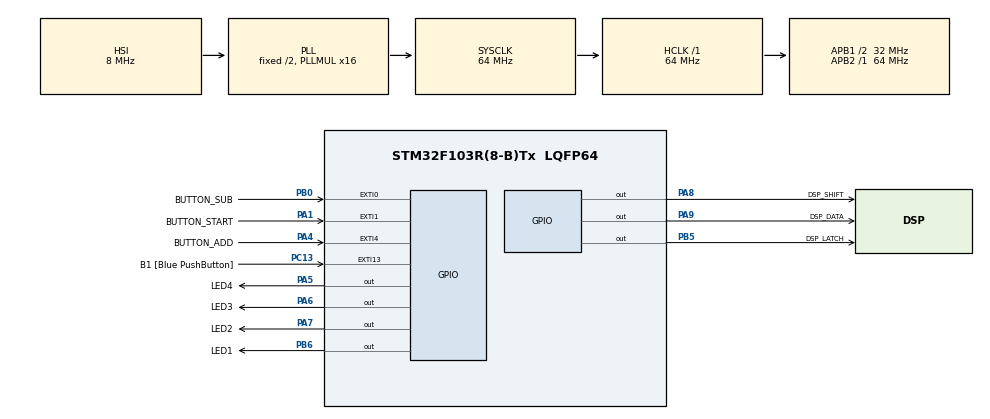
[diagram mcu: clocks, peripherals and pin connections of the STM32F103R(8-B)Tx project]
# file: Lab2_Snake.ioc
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Mcu.Family=STM32F1
Mcu.Name=STM32F103R(8-B)Tx
Mcu.Package=LQFP64
NVIC.EXTI0_IRQn=true\:0\:0\:false\:false\:true\:true\:true\:true
NVIC.EXTI15_10_IRQn=true\:0\:0\:false\:true\:true\:1\:true\:true\:true
NVIC.EXTI1_IRQn=true\:0\:0\:false\:false\:true\:true\:true\:true
NVIC.EXTI4_IRQn=true\:0\:0\:false\:false\:true\:true\:true\:true
NVIC.PriorityGroup=NVIC_PRIORITYGROUP_4
NVIC.TIM1_UP_IRQn=true\:0\:0\:false\:false\:true\:true\:true\:true
NVIC.TIM2_IRQn=true\:0\:0\:false\:false\:true\:true\:true\:true
PA1.GPIO_Label=BUTTON_START
PA1.GPIO_ModeDefaultEXTI=GPIO_MODE_IT_RISING
PA1.GPIO_PuPd=GPIO_PULLUP
PA1.Signal=GPXTI1
PA13.GPIO_Label=TMS
PA13.Mode=Serial_Wire
PA13.Signal=SYS_JTMS-SWDIO
PA14.GPIO_Label=TCK
PA14.Mode=Serial_Wire
PA14.Signal=SYS_JTCK-SWCLK
PA2.GPIO_Label=USART_TX
PA2.GPIO_Mode=GPIO_MODE_AF_PP
PA2.GPIO_PuPd=GPIO_NOPULL
PA2.GPIO_Speed=GPIO_SPEED_FREQ_LOW
PA2.Signal=USART2_TX
PA3.GPIO_Label=USART_RX
PA3.GPIO_Mode=GPIO_MODE_AF_PP
PA3.GPIO_PuPd=GPIO_NOPULL
PA3.GPIO_Speed=GPIO_SPEED_FREQ_LOW
PA3.Signal=USART2_RX
PA4.GPIO_Label=BUTTON_ADD
PA4.GPIO_ModeDefaultEXTI=GPIO_MODE_IT_RISING
PA4.GPIO_PuPd=GPIO_PULLUP
PA4.Signal=GPXTI4
PA5.GPIO_Label=LED4
PA5.Signal=GPIO_Output
PA6.GPIO_Label=LED3
PA6.Signal=GPIO_Output
PA7.GPIO_Label=LED2
PA7.Signal=GPIO_Output
PA8.GPIO_Label=DSP_SHIFT
PA8.Signal=GPIO_Output
PA9.GPIO_Label=DSP_DATA
PA9.Signal=GPIO_Output
PB0.GPIO_Label=BUTTON_SUB
PB0.GPIO_ModeDefaultEXTI=GPIO_MODE_IT_RISING
PB0.GPIO_PuPd=GPIO_PULLUP
PB0.Signal=GPXTI0
PB5.GPIO_Label=DSP_LATCH
PB5.Signal=GPIO_Output
PB6.GPIO_Label=LED1
PB6.GPIO_ModeDefaultOutputPP=GPIO_MODE_OUTPUT_PP
PB6.GPIO_PuPd=GPIO_NOPULL
PB6.GPIO_Speed=GPIO_SPEED_FREQ_LOW
PB6.Signal=GPIO_Output
PC13-TAMPER-RTC.GPIO_Label=B1 [Blue PushButton]
PC13-TAMPER-RTC.GPIO_ModeDefaultEXTI=GPIO_MODE_IT_FALLING
PC13-TAMPER-RTC.GPIO_PuPd=GPIO_NOPULL
PC13-TAMPER-RTC.Signal=GPXTI13
PC14-OSC32_IN.Signal=RCC_OSC32_IN
PC15-OSC32_OUT.Signal=RCC_OSC32_OUT
PD0-OSC_IN.Signal=RCC_OSC_IN
PD1-OSC_OUT.Signal=RCC_OSC_OUT
ProjectManager.HeapSize=0x200
ProjectManager.StackSize=0x400
ProjectManager.TargetToolchain=MDK-ARM V5
RCC.AHBFreq_Value=64000000
RCC.APB1CLKDivider=RCC_HCLK_DIV2
RCC.APB1Freq_Value=32000000
RCC.APB1TimFreq_Value=64000000
RCC.APB2Freq_Value=64000000
RCC.APB2TimFreq_Value=64000000
RCC.HCLKFreq_Value=64000000
RCC.PLLMUL=RCC_PLL_MUL16
RCC.SYSCLKFreq_VALUE=64000000
RCC.SYSCLKSource=RCC_SYSCLKSOURCE_PLLCLK
RCC.USBFreq_Value=64000000
TIM1.Period=199
TIM1.Prescaler=63999
TIM2.Period=999
TIM2.Prescaler=63999
VP_TIM1_VS_ClockSourceINT.Mode=Internal
VP_TIM2_VS_ClockSourceINT.Mode=Internal
board=NUCLEO-F103RB

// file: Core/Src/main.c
/* USER CODE BEGIN Header */
/**
  ******************************************************************************
  * @file           : main.c
  * @brief          : Main program body
  ******************************************************************************
  * @attention
  *
  * Copyright (c) 2022 STMicroelectronics.
  * All rights reserved.
  *
  * This software is licensed under terms that can be found in the LICENSE file
  * in the root directory of this software component.
  * If no LICENSE file comes with this software, it is provided AS-IS.
  *
  ******************************************************************************
  */
/* USER CODE END Header */
#include "main.h"

TIM_HandleTypeDef htim1;
TIM_HandleTypeDef htim2;

/* USER CODE BEGIN PV */
// 1999 - 1 time per 2 seconds
// 999 - 1 time per second
// 199 - 5 times per second
// 99 - 10 times per second
const uint16_t speed_values[] =  { 1999, 999, 199, 99 };
/* USER CODE END PV */

void SystemClock_Config(void);
static void MX_GPIO_Init(void);
static void MX_TIM1_Init(void);
static void MX_TIM2_Init(void);
static void MX_NVIC_Init(void);

/* USER CODE BEGIN 0 */
int num = 0;
int speed = 2;
uint8_t is_speed_changed = 0;
uint8_t is_button_stop_pressed = 0;
uint8_t button_start = 0;
uint8_t button_add = 0;
uint8_t button_sub = 0;
int digits[12] = { 0xC0, 0xF9, 0xA4, 0xB0, 0x99, 0x92, 0x82, 0xF8, 0x80, 0x90, 0x7F, 0xFF };
int position = 0x08;

const int maxSpeed = 3;
const int minSpeed = 0;

void WriteDigit(int digit)
{
	int j = 0;
	while (j < 8)
	{
		if (((digit << j) & 0x80) != 0)
		{
			HAL_GPIO_WritePin(DSP_DATA_GPIO_Port, DSP_DATA_Pin, GPIO_PIN_SET);
		}
		else
		{
			HAL_GPIO_WritePin(DSP_DATA_GPIO_Port, DSP_DATA_Pin, GPIO_PIN_RESET);
		}
		HAL_GPIO_WritePin(DSP_SHIFT_GPIO_Port, DSP_SHIFT_Pin, GPIO_PIN_SET);
		HAL_GPIO_WritePin(DSP_SHIFT_GPIO_Port, DSP_SHIFT_Pin, GPIO_PIN_RESET);
		++j;
	}
	j = 0;
	while (j < 8)
	{
		if (((position << j) & 0x80) != 0)
		{
			HAL_GPIO_WritePin(DSP_DATA_GPIO_Port, DSP_DATA_Pin, GPIO_PIN_SET);
		}
		else
		{
			HAL_GPIO_WritePin(DSP_DATA_GPIO_Port, DSP_DATA_Pin, GPIO_PIN_RESET);
		}
		HAL_GPIO_WritePin(DSP_SHIFT_GPIO_Port, DSP_SHIFT_Pin, GPIO_PIN_SET);
		HAL_GPIO_WritePin(DSP_SHIFT_GPIO_Port, DSP_SHIFT_Pin, GPIO_PIN_RESET);
		++j;
	}
	HAL_GPIO_WritePin(DSP_LATCH_GPIO_Port, DSP_LATCH_Pin, GPIO_PIN_SET);
	HAL_GPIO_WritePin(DSP_LATCH_GPIO_Port, DSP_LATCH_Pin, GPIO_PIN_RESET);
}

void HAL_GPIO_EXTI_Callback(uint16_t GPIO_Pin)
{
	if (GPIO_Pin == GPIO_PIN_1 && button_start == 0)
	{
		button_start = 1;
		if (!is_button_stop_pressed)
		{
			HAL_TIM_Base_Start_IT(&htim1);
			is_button_stop_pressed = 1;

		WriteDigit(digits[speed+1]);
		}
		else
		{
			HAL_TIM_Base_Stop_IT(&htim1);
			is_button_stop_pressed = 0;

		WriteDigit(digits[0]);
		}
	}

	if (GPIO_Pin == GPIO_PIN_4 && button_add == 0)
	{
		button_add = 1;
		if (speed + 1 <= maxSpeed) {
			speed += 1;
		  is_speed_changed = 1;
		}
		WriteDigit(digits[speed+1]);
	}

	if (GPIO_Pin == GPIO_PIN_0 && button_sub == 0)
	{
		button_sub = 1;
		if (speed - 1 >= minSpeed) {
			speed -= 1;
		  is_speed_changed = 1;
		}
		WriteDigit(digits[speed+1]);
	}
}

void HAL_TIM_PeriodElapsedCallback(TIM_HandleTypeDef *htim)
{
   if(htim->Instance == TIM1)
   {
		 if (is_speed_changed != 0) {
		   __HAL_TIM_SET_AUTORELOAD(&htim1, speed_values[speed]);
			 is_speed_changed = 0;
		 }
		 switch(num)
		 {
			 case 0:
					HAL_GPIO_TogglePin(LED4_GPIO_Port, LED4_Pin);
				 break;
			 case 1:
				 HAL_GPIO_TogglePin(LED3_GPIO_Port, LED3_Pin);
			 break;
			 case 2:
				 HAL_GPIO_TogglePin(LED2_GPIO_Port, LED2_Pin);
			 break;
			 case 3:
				 HAL_GPIO_TogglePin(LED1_GPIO_Port, LED1_Pin);
			 break;
		 }
		 num = (num + 1) % 4;
   }
	 if(htim->Instance == TIM2)
   {
		 if (button_start == 1)
		 {
			 button_start = 0;
		 }
		 if (button_add == 1)
		 {
			 button_add = 0;
		 }
		 if (button_sub == 1)
		 {
			 button_sub = 0;
		 }
   }
}

/* USER CODE END 0 */

int main(void)
{

  /* MCU Configuration--------------------------------------------------------*/

  /* Reset of all peripherals, Initializes the Flash interface and the Systick. */
  HAL_Init();

  /* Configure the system clock */
  SystemClock_Config();

  /* Initialize all configured peripherals */
  MX_GPIO_Init();
  MX_TIM1_Init();
  MX_TIM2_Init();

  /* Initialize interrupts */
  MX_NVIC_Init();
  /* USER CODE BEGIN 2 */
	HAL_GPIO_WritePin(GPIOA, GPIO_PIN_5, GPIO_PIN_SET);
	HAL_GPIO_WritePin(GPIOA, GPIO_PIN_6, GPIO_PIN_SET);
	HAL_GPIO_WritePin(GPIOA, GPIO_PIN_7, GPIO_PIN_SET);
	HAL_GPIO_WritePin(GPIOB, GPIO_PIN_6, GPIO_PIN_SET);
	HAL_TIM_Base_Start_IT(&htim2);

	WriteDigit(digits[0]);
  /* USER CODE END 2 */

  /* Infinite loop */
  while (1)
  {

  }
}

void SystemClock_Config(void)
{
  RCC_OscInitTypeDef RCC_OscInitStruct = {0};
  RCC_ClkInitTypeDef RCC_ClkInitStruct = {0};

  /** Initializes the RCC Oscillators according to the specified parameters
  * in the RCC_OscInitTypeDef structure.
  */
  RCC_OscInitStruct.OscillatorType = RCC_OSCILLATORTYPE_HSI;
  RCC_OscInitStruct.HSIState = RCC_HSI_ON;
  RCC_OscInitStruct.HSICalibrationValue = RCC_HSICALIBRATION_DEFAULT;
  RCC_OscInitStruct.PLL.PLLState = RCC_PLL_ON;
  RCC_OscInitStruct.PLL.PLLSource = RCC_PLLSOURCE_HSI_DIV2;
  RCC_OscInitStruct.PLL.PLLMUL = RCC_PLL_MUL16;
  if (HAL_RCC_OscConfig(&RCC_OscInitStruct) != HAL_OK)
  {
    Error_Handler();
  }

  /** Initializes the CPU, AHB and APB buses clocks
  */
  RCC_ClkInitStruct.ClockType = RCC_CLOCKTYPE_HCLK|RCC_CLOCKTYPE_SYSCLK
                              |RCC_CLOCKTYPE_PCLK1|RCC_CLOCKTYPE_PCLK2;
  RCC_ClkInitStruct.SYSCLKSource = RCC_SYSCLKSOURCE_PLLCLK;
  RCC_ClkInitStruct.AHBCLKDivider = RCC_SYSCLK_DIV1;
  RCC_ClkInitStruct.APB1CLKDivider = RCC_HCLK_DIV2;
  RCC_ClkInitStruct.APB2CLKDivider = RCC_HCLK_DIV1;

  if (HAL_RCC_ClockConfig(&RCC_ClkInitStruct, FLASH_LATENCY_2) != HAL_OK)
  {
    Error_Handler();
  }
}

/**
  * @brief NVIC Configuration.
  * @retval None
  */
static void MX_NVIC_Init(void)
{
  /* EXTI15_10_IRQn interrupt configuration */
  HAL_NVIC_SetPriority(EXTI15_10_IRQn, 0, 0);
  HAL_NVIC_EnableIRQ(EXTI15_10_IRQn);
}

static void MX_TIM1_Init(void)
{

  TIM_ClockConfigTypeDef sClockSourceConfig = {0};
  TIM_MasterConfigTypeDef sMasterConfig = {0};

  htim1.Instance = TIM1;
  htim1.Init.Prescaler = 63999;
  htim1.Init.CounterMode = TIM_COUNTERMODE_UP;
  htim1.Init.Period = 199;
  htim1.Init.ClockDivision = TIM_CLOCKDIVISION_DIV1;
  htim1.Init.RepetitionCounter = 0;
  htim1.Init.AutoReloadPreload = TIM_AUTORELOAD_PRELOAD_DISABLE;
  if (HAL_TIM_Base_Init(&htim1) != HAL_OK)
  {
    Error_Handler();
  }
  sClockSourceConfig.ClockSource = TIM_CLOCKSOURCE_INTERNAL;
  if (HAL_TIM_ConfigClockSource(&htim1, &sClockSourceConfig) != HAL_OK)
  {
    Error_Handler();
  }
  sMasterConfig.MasterOutputTrigger = TIM_TRGO_RESET;
  sMasterConfig.MasterSlaveMode = TIM_MASTERSLAVEMODE_DISABLE;
  if (HAL_TIMEx_MasterConfigSynchronization(&htim1, &sMasterConfig) != HAL_OK)
  {
    Error_Handler();
  }

}

static void MX_TIM2_Init(void)
{

  TIM_ClockConfigTypeDef sClockSourceConfig = {0};
  TIM_MasterConfigTypeDef sMasterConfig = {0};

  htim2.Instance = TIM2;
  htim2.Init.Prescaler = 63999;
  htim2.Init.CounterMode = TIM_COUNTERMODE_UP;
  htim2.Init.Period = 999;
  htim2.Init.ClockDivision = TIM_CLOCKDIVISION_DIV1;
  htim2.Init.AutoReloadPreload = TIM_AUTORELOAD_PRELOAD_DISABLE;
  if (HAL_TIM_Base_Init(&htim2) != HAL_OK)
  {
    Error_Handler();
  }
  sClockSourceConfig.ClockSource = TIM_CLOCKSOURCE_INTERNAL;
  if (HAL_TIM_ConfigClockSource(&htim2, &sClockSourceConfig) != HAL_OK)
  {
    Error_Handler();
  }
  sMasterConfig.MasterOutputTrigger = TIM_TRGO_RESET;
  sMasterConfig.MasterSlaveMode = TIM_MASTERSLAVEMODE_DISABLE;
  if (HAL_TIMEx_MasterConfigSynchronization(&htim2, &sMasterConfig) != HAL_OK)
  {
    Error_Handler();
  }

}

static void MX_GPIO_Init(void)
{
  GPIO_InitTypeDef GPIO_InitStruct = {0};

  /* GPIO Ports Clock Enable */
  __HAL_RCC_GPIOC_CLK_ENABLE();
  __HAL_RCC_GPIOD_CLK_ENABLE();
  __HAL_RCC_GPIOA_CLK_ENABLE();
  __HAL_RCC_GPIOB_CLK_ENABLE();

  /*Configure GPIO pin Output Level */
  HAL_GPIO_WritePin(GPIOA, LED4_Pin|LED3_Pin|LED2_Pin|DSP_SHIFT_Pin
                          |DSP_DATA_Pin, GPIO_PIN_RESET);

  /*Configure GPIO pin Output Level */
  HAL_GPIO_WritePin(GPIOB, DSP_LATCH_Pin|LED1_Pin, GPIO_PIN_RESET);

  /*Configure GPIO pin : B1_Pin */
  GPIO_InitStruct.Pin = B1_Pin;
  GPIO_InitStruct.Mode = GPIO_MODE_IT_FALLING;
  GPIO_InitStruct.Pull = GPIO_NOPULL;
  HAL_GPIO_Init(B1_GPIO_Port, &GPIO_InitStruct);

  /*Configure GPIO pins : BUTTON_START_Pin BUTTON_ADD_Pin */
  GPIO_InitStruct.Pin = BUTTON_START_Pin|BUTTON_ADD_Pin;
  GPIO_InitStruct.Mode = GPIO_MODE_IT_RISING;
  GPIO_InitStruct.Pull = GPIO_PULLUP;
  HAL_GPIO_Init(GPIOA, &GPIO_InitStruct);

  /*Configure GPIO pins : USART_TX_Pin USART_RX_Pin */
  GPIO_InitStruct.Pin = USART_TX_Pin|USART_RX_Pin;
  GPIO_InitStruct.Mode = GPIO_MODE_AF_PP;
  GPIO_InitStruct.Speed = GPIO_SPEED_FREQ_LOW;
  HAL_GPIO_Init(GPIOA, &GPIO_InitStruct);

  /*Configure GPIO pins : LED4_Pin LED3_Pin LED2_Pin DSP_SHIFT_Pin
                           DSP_DATA_Pin */
  GPIO_InitStruct.Pin = LED4_Pin|LED3_Pin|LED2_Pin|DSP_SHIFT_Pin
                          |DSP_DATA_Pin;
  GPIO_InitStruct.Mode = GPIO_MODE_OUTPUT_PP;
  GPIO_InitStruct.Pull = GPIO_NOPULL;
  GPIO_InitStruct.Speed = GPIO_SPEED_FREQ_LOW;
  HAL_GPIO_Init(GPIOA, &GPIO_InitStruct);

  /*Configure GPIO pin : BUTTON_SUB_Pin */
  GPIO_InitStruct.Pin = BUTTON_SUB_Pin;
  GPIO_InitStruct.Mode = GPIO_MODE_IT_RISING;
  GPIO_InitStruct.Pull = GPIO_PULLUP;
  HAL_GPIO_Init(BUTTON_SUB_GPIO_Port, &GPIO_InitStruct);

  /*Configure GPIO pins : DSP_LATCH_Pin LED1_Pin */
  GPIO_InitStruct.Pin = DSP_LATCH_Pin|LED1_Pin;
  GPIO_InitStruct.Mode = GPIO_MODE_OUTPUT_PP;
  GPIO_InitStruct.Pull = GPIO_NOPULL;
  GPIO_InitStruct.Speed = GPIO_SPEED_FREQ_LOW;
  HAL_GPIO_Init(GPIOB, &GPIO_InitStruct);

  /* EXTI interrupt init*/
  HAL_NVIC_SetPriority(EXTI0_IRQn, 0, 0);
  HAL_NVIC_EnableIRQ(EXTI0_IRQn);

  HAL_NVIC_SetPriority(EXTI1_IRQn, 0, 0);
  HAL_NVIC_EnableIRQ(EXTI1_IRQn);

  HAL_NVIC_SetPriority(EXTI4_IRQn, 0, 0);
  HAL_NVIC_EnableIRQ(EXTI4_IRQn);

}

void Error_Handler(void)
{
  __disable_irq();
  while (1)
  {
  }
}
